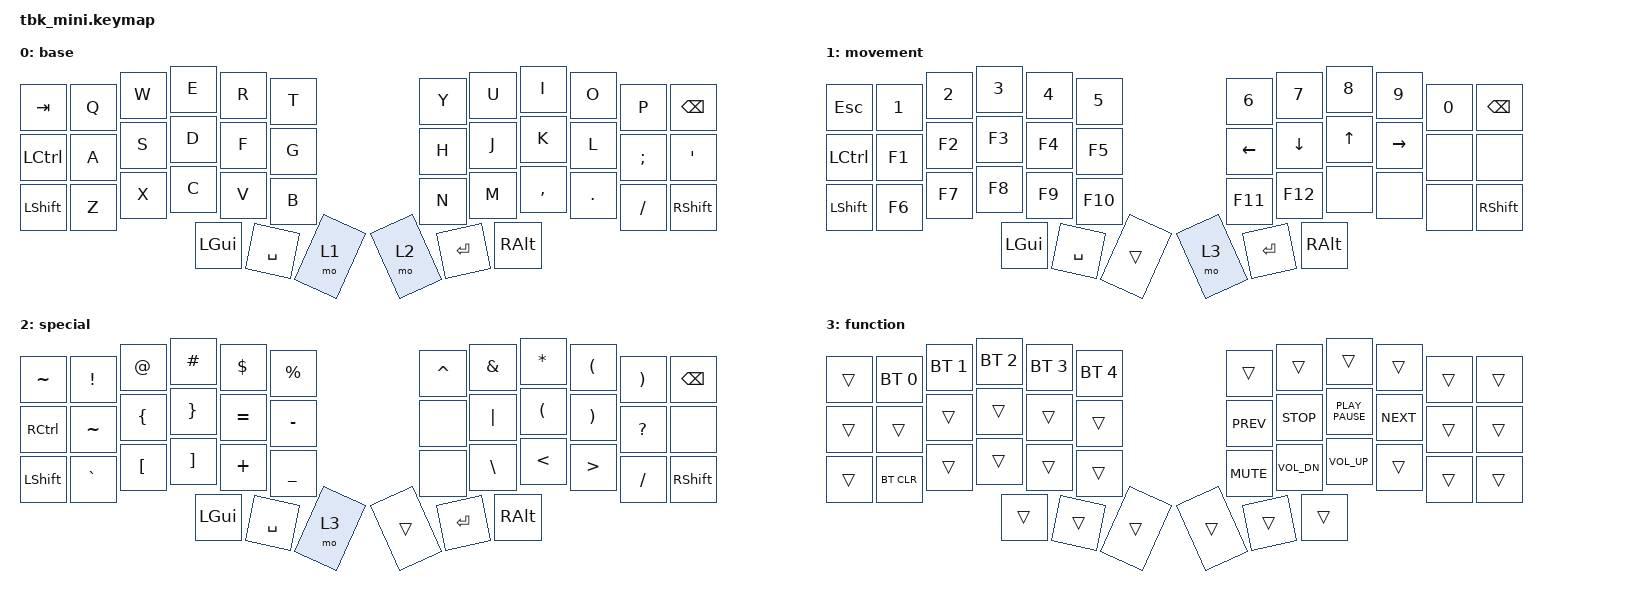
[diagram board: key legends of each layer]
// This file was generated from a template. Edit it to match your keyboard.
// See https://zmk.dev/docs/development/hardware-integration/new-shield for more instructions.

#include <behaviors.dtsi>
#include <dt-bindings/zmk/bt.h>
#include <dt-bindings/zmk/keys.h>

/ {
    keymap {
        compatible = "zmk,keymap";

        base {
            bindings = <
&kp TAB    &kp Q     &kp W     &kp E     &kp R      &kp T    &kp Y  &kp U      &kp I      &kp O    &kp P     &kp BSPC
&kp LCTRL  &kp A     &kp S     &kp D     &kp F      &kp G    &kp H  &kp J      &kp K      &kp L    &kp SEMI  &kp SQT
&kp LSHFT  &kp Z     &kp X     &kp C     &kp V      &kp B    &kp N  &kp M      &kp COMMA  &kp DOT  &kp FSLH  &kp RSHFT
                               &kp LGUI  &kp SPACE  &mo 1    &mo 2  &kp ENTER  &kp RALT
            >;
        };

        movement {
            bindings = <
&kp ESC    &kp N1  &kp N2  &kp N3    &kp N4     &kp N5     &kp N6          &kp N7     &kp N8        &kp N9     &kp N0  &kp BSPC
&kp LCTRL  &kp F1  &kp F2  &kp F3    &kp F4     &kp F5     &kp LEFT_ARROW  &kp DOWN   &kp UP_ARROW  &kp RIGHT  &none   &none
&kp LSHFT  &kp F6  &kp F7  &kp F8    &kp F9     &kp F10    &kp F11         &kp F12    &none         &none      &none   &kp RSHFT
                           &kp LGUI  &kp SPACE  &trans     &mo 3           &kp ENTER  &kp RALT
            >;
        };

        special {
            bindings = <
&kp TILDE  &kp EXCLAMATION  &kp AT_SIGN       &kp HASH           &kp DOLLAR  &kp PERCENT       &kp CARET  &kp AMPERSAND  &kp ASTERISK          &kp LEFT_PARENTHESIS   &kp RIGHT_PARENTHESIS  &kp BSPC
&kp RCTRL  &kp TILDE        &kp LEFT_BRACE    &kp RIGHT_BRACE    &kp EQUAL   &kp MINUS         &none      &kp PIPE       &kp LEFT_PARENTHESIS  &kp RIGHT_PARENTHESIS  &kp QUESTION           &none
&kp LSHFT  &kp GRAVE        &kp LEFT_BRACKET  &kp RIGHT_BRACKET  &kp PLUS    &kp UNDERSCORE    &none      &kp BACKSLASH  &kp LESS_THAN         &kp GREATER_THAN       &kp SLASH              &kp RSHFT
                                              &kp LGUI           &kp SPACE   &mo 3             &trans     &kp ENTER      &kp RALT
            >;
        };

        function {
            bindings = <
&trans  &bt BT_SEL 0  &bt BT_SEL 1  &bt BT_SEL 2  &bt BT_SEL 3  &bt BT_SEL 4    &trans      &trans        &trans            &trans      &trans  &trans
&trans  &trans        &trans        &trans        &trans        &trans          &kp K_PREV  &kp K_STOP    &kp K_PLAY_PAUSE  &kp K_NEXT  &trans  &trans
&trans  &bt BT_CLR    &trans        &trans        &trans        &trans          &kp K_MUTE  &kp C_VOL_DN  &kp C_VOL_UP      &trans      &trans  &trans
                                    &trans        &trans        &trans          &trans      &trans        &trans
            >;
        };
    };
};
